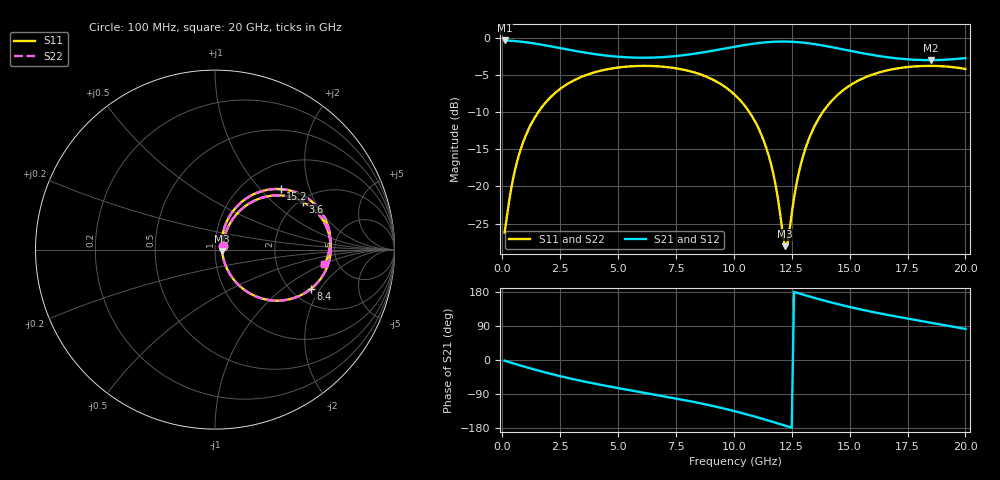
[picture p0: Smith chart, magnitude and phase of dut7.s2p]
! Touchstone file exported from HFSS 2026.1.0
!  File:  C:/ffzhzh/LocalFiles/Ansys_Project_Files/temp_val_TSV_RDL_7_1782975884_45748.aedt
!  Generated:  03:14:55 PM Jul  2, 2026
!  Design:  TSV_RDL
!  Project:  temp_val_TSV_RDL_7_1782975884_45748
! Variables:
!  h_bsmrdl = 2.16um
!  h_ox = 20um
!  h_rdl = 5um
!  h_sub = 71.75um
!  h_tmrdl = 3.68um
!  h_tsv = 71.75um
!  h_via = 3um
!  l_bsmrdl = 398.26um
!  l_sub = 4526.43um
!  l_tmrdl = 716.9um
!  m_sub = 200um
!  pitch = 50.58um
!  r_tsv = 14.35um
!  s_tmrdl = 10um
!  w_bsmrdl = 11.22um
!  w_sub = 500um
!  w_tmrdl = 10.13um
!  x_tsv_center1 = 721.965um
!  x_tsv_center2 = 1131.445um
!  x_tsv_center3 = 1858.475um
!  x_tsv_center4 = 2267.955um
!  x_tsv_center5 = 2994.985um
!  x_tsv_center6 = 3404.465um
# GHz S MA R 50.000000
! Terminal data exported
! Port[1] = TM_RDL1_1_T1
! Port[2] = TM_RDL5_1_T1
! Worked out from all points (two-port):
!   200 points, 100 MHz to 20 GHz, reference 50 ohm
!   highest |S21| = -0.39 dB at 100 MHz (marker M1); lowest = -3.0 dB at 18.5 GHz (marker M2)
!   |S21| within 3 dB of the highest: start of sweep to end of sweep
!   lowest |S11| = -28.0 dB at 12.2 GHz (marker M3), VSWR 1.08, Z = 54.1 - j0.756 ohm
!   |S11| at or under -10 dB: start of sweep to 1.557 GHz; 10.67 GHz to 13.85 GHz (3.179 GHz wide, 25.9 % of centre)
!   |S22| runs from -28.1 to -3.8 dB; largest |S21 - S12| = 1.7e-14
!   S11 on the Smith chart (normalised r, x): 100 MHz: 1.09, +0.05; 3.6 GHz: 2.08, +1.61; 8.4 GHz: 2.50, -1.65; 15.2 GHz: 1.46, +1.30; 20 GHz: 3.91, -1.02
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0.1  0.04906 25.5  0.9562 -1.9  0.9562 -1.9  0.04906 25.5
! Gamma 0 0 0 0
! Port Impedance 50 0 50 0
0.6  0.1393 59.6  0.9457 -11.3  0.9457 -11.3  0.1393 59.6
1.2  0.2542 57.5  0.9218 -21.9  0.9218 -21.9  0.2542 57.5
2.2  0.4138 45.7  0.867 -38.2  0.867 -38.2  0.4137 45.7
3.5  0.5511 29.7  0.7957 -56.4  0.7957 -56.4  0.5511 29.7
3.6  0.5586 28.6  0.791 -57.6  0.791 -57.6  0.5586 28.6
5.2  0.6343 11.2  0.7395 -76.3  0.7395 -76.3  0.6343 11.2
6.8  0.6399 -5.1  0.7369 -93.7  0.7369 -93.7  0.6399 -5.1
8.4  0.5764 -22.4  0.7829 -112.2  0.7829 -112.2  0.5764 -22.5
10.1  0.4043 -43.7  0.8712 -136.1  0.8712 -136.1  0.4043 -43.8
10.8  0.2936 -52.8  0.9072 -147.6  0.9072 -147.6  0.2936 -52.8
11.4  0.1818 -58.4  0.9299 -158.2  0.9299 -158.2  0.1818 -58.4
11.8  0.1029 -55.8  0.9384 -165.5  0.9384 -165.5  0.1028 -55.9
12.2  0.0397 -10.1  0.9403 -172.9  0.9403 -172.9  0.03948 -10.2
12.3  0.0398 19.3  0.9397 -174.8  0.9397 -174.8  0.03957 19.4
12.8  0.1225 66.3  0.9305 176.0  0.9305 176.0  0.1225 66.4
13.4  0.2381 64.9  0.9075 165.3  0.9075 165.3  0.2381 64.9
14.2  0.3721 55.4  0.8637 151.9  0.8637 151.9  0.372 55.4
15.2  0.497 42.7  0.8044 137.1  0.8044 137.1  0.4969 42.7
16.7  0.6057 25.6  0.7353 118.3  0.7353 118.3  0.6057 25.7
18.5  0.6454 7.5  0.7054 98.6  0.7054 98.6  0.6453 7.5
20  0.6151 -7.6  0.7279 82.0  0.7279 82.0  0.615 -7.5
